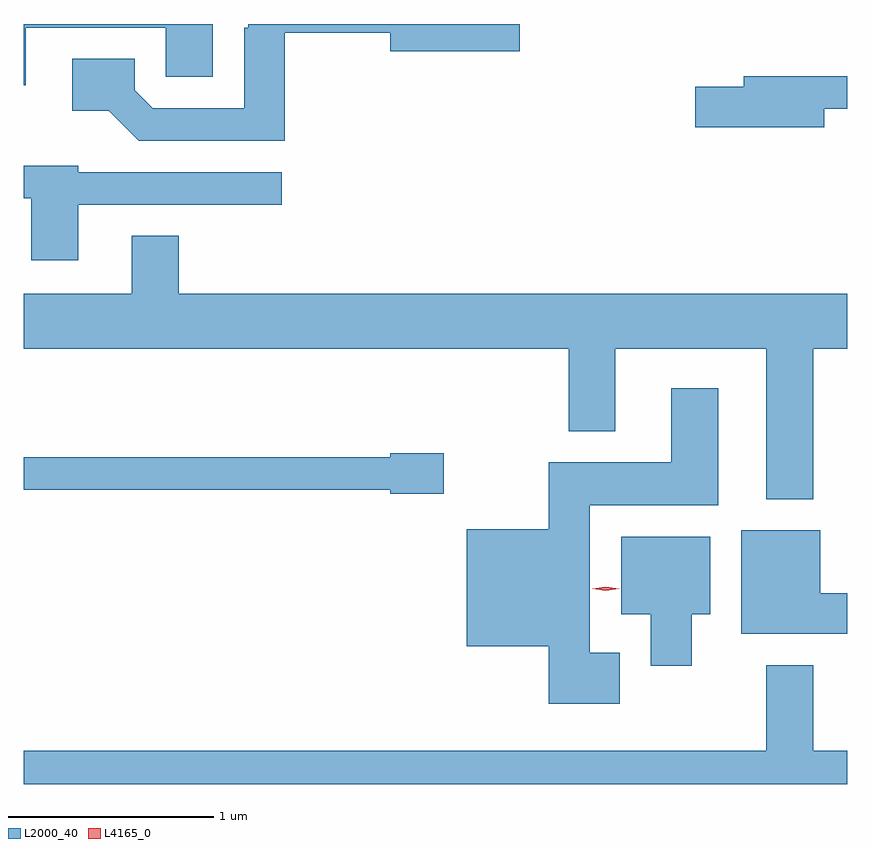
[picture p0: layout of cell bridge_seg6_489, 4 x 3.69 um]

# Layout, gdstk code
import gdstk
lib = gdstk.Library(unit=1e-6, precision=1e-09)
def P(c, l, *ps):  # polygons
    for p in ps: c.add(gdstk.Polygon(p, *l))
L2000_40 = (2000, 40)
L4165_0 = (4165, 0)

bridge_seg6_489 = lib.new_cell('bridge_seg6_489')
P(bridge_seg6_489, L2000_40, [(869.134,1533.836),(869.816,1533.836),(869.816,1533.596),(870.044,1533.596),(870.044,1533.853),(869.125,1533.853),(869.125,1533.556),(869.134,1533.556)],
  [(870.394,1533.811),(870.906,1533.811),(870.906,1533.721),(871.534,1533.721),(871.534,1533.853),(870.216,1533.853),(870.216,1533.834),(870.196,1533.834),(870.196,1533.444),(869.752,1533.444),(869.664,1533.532),(869.664,1533.684),(869.361,1533.684),(869.361,1533.431),(869.539,1533.431),(869.684,1533.286),(870.394,1533.286)],
  [(873.014,1533.441),(873.125,1533.441),(873.125,1533.599),(872.621,1533.599),(872.621,1533.549),(872.386,1533.549),(872.386,1533.351),(873.014,1533.351)],
  [(869.389,1532.976),(870.378,1532.976),(870.378,1533.134),(869.389,1533.134),(869.389,1533.164),(869.125,1533.164),(869.125,1533.006),(869.161,1533.006),(869.161,1532.706),(869.389,1532.706)],
  [(872.959,1532.276),(873.125,1532.276),(873.125,1532.544),(869.879,1532.544),(869.879,1532.824),(869.651,1532.824),(869.651,1532.544),(869.125,1532.544),(869.125,1532.276),(871.771,1532.276),(871.771,1531.876),(871.999,1531.876),(871.999,1532.276),(872.731,1532.276),(872.731,1531.546),(872.959,1531.546)],
  [(872.019,1530.799),(871.874,1530.799),(871.874,1531.516),(872.499,1531.516),(872.499,1532.084),(872.271,1532.084),(872.271,1531.724),(871.676,1531.724),(871.676,1531.399),(871.276,1531.399),(871.276,1530.831),(871.676,1530.831),(871.676,1530.551),(872.019,1530.551)],
  [(871.164,1531.769),(870.906,1531.769),(870.906,1531.749),(869.125,1531.749),(869.125,1531.591),(870.906,1531.591),(870.906,1531.571),(871.164,1531.571)],
  [(873.125,1531.089),(872.994,1531.089),(872.994,1531.394),(872.611,1531.394),(872.611,1530.891),(873.125,1530.891)],
  [(872.369,1530.986),(872.459,1530.986),(872.459,1531.364),(872.026,1531.364),(872.026,1530.986),(872.171,1530.986),(872.171,1530.736),(872.369,1530.736)],
  [(873.125,1530.324),(872.959,1530.324),(872.959,1530.739),(872.731,1530.739),(872.731,1530.324),(869.125,1530.324),(869.125,1530.162),(873.125,1530.162)])
P(bridge_seg6_489, L4165_0, [(871.952,1531.1),(871.886,1531.11),(871.886,1531.11),(871.886,1531.111),(871.952,1531.12),(872.017,1531.111),(872.018,1531.11),(872.017,1531.11)])

lib.write_gds('bridge_seg6_489.gds')
